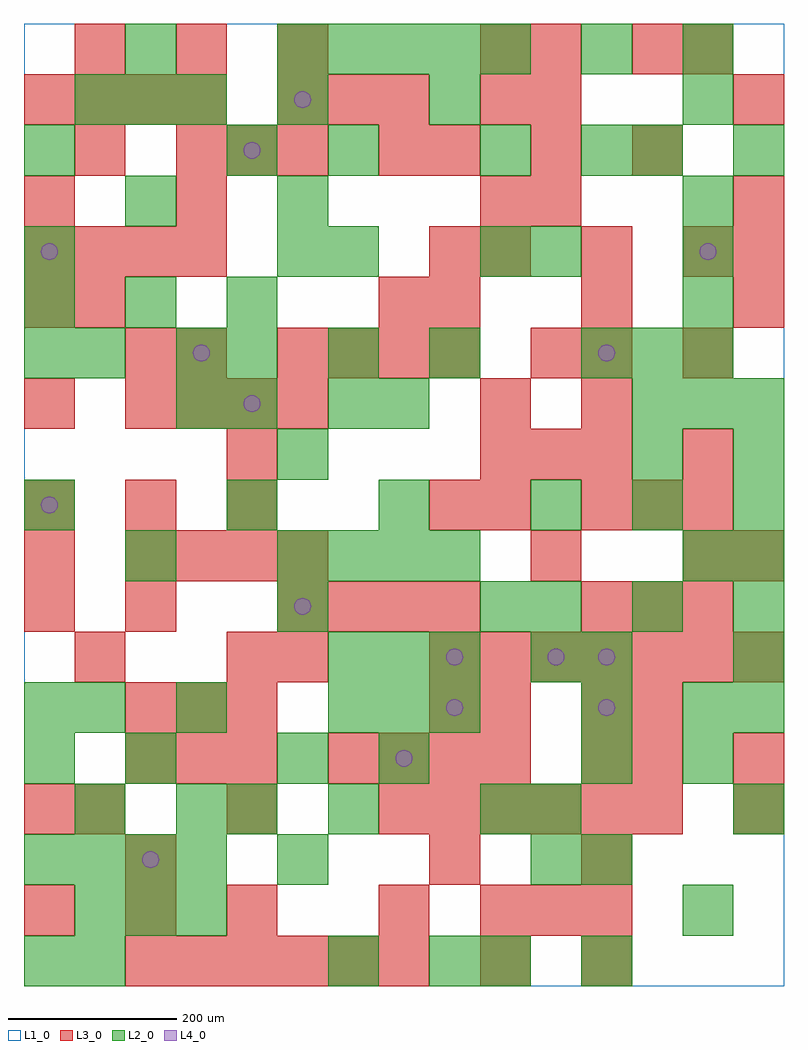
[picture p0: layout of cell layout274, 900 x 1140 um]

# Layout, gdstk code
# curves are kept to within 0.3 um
import gdstk
lib = gdstk.Library(unit=1e-6, precision=1e-09)
def R(c, l, rs):  # rectangles x0, y0, x1, y1
    for r in rs: c.add(gdstk.rectangle(r[:2], r[2:], *l))
def A(c, l, x, y, w, h, nx, ny, dx, dy):  # array of equal rectangles
    R(c, l, [(x+i*dx, y+j*dy, x+i*dx+w, y+j*dy+h) for i in range(nx) for j in range(ny)])
def P(c, l, *ps):  # polygons
    for p in ps: c.add(gdstk.Polygon(p, *l))
L1_0 = (1, 0)
L2_0 = (2, 0)
L3_0 = (3, 0)
L4_0 = (4, 0)

layout274 = lib.new_cell('layout274')
R(layout274, L1_0, [(0,0,900,1140)])
A(layout274, L2_0, 660, 0, 60, 60, 1, 3, 0, 120)
A(layout274, L2_0, 60, 60, 60, 60, 3, 2, 60, 960)
A(layout274, L2_0, 0, 120, 60, 60, 4, 1, 60, 0)
A(layout274, L2_0, 300, 240, 60, 60, 1, 3, 0, 180)
A(layout274, L2_0, 360, 300, 60, 60, 3, 2, 60, 60)
A(layout274, L2_0, 600, 420, 60, 60, 3, 1, 120, 0)
A(layout274, L2_0, 300, 480, 60, 60, 4, 1, 60, 0)
A(layout274, L2_0, 840, 480, 60, 60, 1, 3, 0, 60)
A(layout274, L2_0, 240, 540, 60, 60, 3, 1, 180, 0)
A(layout274, L2_0, 720, 660, 60, 60, 3, 1, 60, 0)
A(layout274, L2_0, 0, 720, 60, 60, 1, 3, 0, 120)
A(layout274, L2_0, 240, 720, 60, 60, 3, 1, 120, 0)
A(layout274, L2_0, 660, 720, 60, 60, 3, 1, 60, 0)
A(layout274, L2_0, 0, 780, 60, 60, 3, 1, 120, 0)
A(layout274, L2_0, 780, 780, 60, 60, 1, 3, 0, 60)
A(layout274, L2_0, 300, 1080, 60, 60, 5, 1, 60, 0)
R(layout274, L2_0, [(0,0,60,60), (60,0,120,60), (360,0,420,60), (480,0,540,60), (540,0,600,60), (780,60,840,120), (300,120,360,180), (600,120,660,180), (60,180,120,240), (180,180,240,240), (240,180,300,240), (360,180,420,240), (540,180,600,240), (600,180,660,240), (840,180,900,240), (0,240,60,300), (120,240,180,300), (420,240,480,300), (780,240,840,300), (0,300,60,360), (60,300,120,360), (180,300,240,360), (660,300,720,360), (780,300,840,360), (840,300,900,360), (600,360,660,420), (660,360,720,420), (840,360,900,420), (540,420,600,480), (120,480,180,540), (780,480,840,540), (0,540,60,600), (720,540,780,600), (720,600,780,660), (180,660,240,720), (240,660,300,720), (360,660,420,720), (420,660,480,720), (60,720,120,780), (180,720,240,780), (300,840,360,900), (360,840,420,900), (540,840,600,900), (600,840,660,900), (120,900,180,960), (300,900,360,960), (240,960,300,1020), (360,960,420,1020), (540,960,600,1020), (660,960,720,1020), (720,960,780,1020), (840,960,900,1020), (300,1020,360,1080), (480,1020,540,1080), (780,1020,840,1080), (120,1080,180,1140), (660,1080,720,1140), (780,1080,840,1140)])
A(layout274, L3_0, 120, 0, 60, 60, 6, 1, 60, 0)
A(layout274, L3_0, 660, 0, 60, 60, 1, 3, 0, 120)
A(layout274, L3_0, 0, 60, 60, 60, 3, 2, 120, 480)
A(layout274, L3_0, 540, 60, 60, 60, 3, 2, 60, 540)
A(layout274, L3_0, 120, 120, 60, 60, 1, 3, 0, 300)
A(layout274, L3_0, 60, 180, 60, 60, 3, 1, 180, 0)
A(layout274, L3_0, 480, 180, 60, 60, 5, 1, 60, 0)
A(layout274, L3_0, 120, 240, 60, 60, 3, 2, 60, 60)
A(layout274, L3_0, 360, 240, 60, 60, 4, 1, 60, 0)
A(layout274, L3_0, 480, 360, 60, 60, 7, 1, 60, 0)
A(layout274, L3_0, 300, 420, 60, 60, 4, 2, 60, 300)
A(layout274, L3_0, 660, 420, 60, 60, 3, 2, 60, 120)
A(layout274, L3_0, 120, 480, 60, 60, 4, 2, 60, 180)
A(layout274, L3_0, 780, 480, 60, 60, 1, 3, 0, 120)
A(layout274, L3_0, 0, 660, 60, 60, 1, 3, 0, 120)
A(layout274, L3_0, 480, 780, 60, 60, 3, 1, 180, 0)
A(layout274, L3_0, 0, 840, 60, 60, 4, 2, 60, 180)
A(layout274, L3_0, 540, 840, 60, 60, 3, 1, 120, 0)
A(layout274, L3_0, 180, 960, 60, 60, 3, 1, 60, 0)
A(layout274, L3_0, 480, 960, 60, 60, 3, 1, 120, 0)
A(layout274, L3_0, 300, 1020, 60, 60, 3, 1, 60, 0)
A(layout274, L3_0, 60, 1080, 60, 60, 3, 1, 120, 0)
R(layout274, L3_0, [(540,0,600,60), (420,60,480,120), (480,120,540,180), (0,180,60,240), (840,180,900,240), (720,240,780,300), (840,240,900,300), (480,300,540,360), (540,300,600,360), (660,300,720,360), (720,300,780,360), (60,360,120,420), (240,360,300,420), (300,360,360,420), (0,420,60,480), (0,480,60,540), (600,480,660,540), (840,480,900,540), (480,540,540,600), (540,540,600,600), (240,600,300,660), (540,660,600,720), (660,660,720,720), (180,720,240,780), (600,720,660,780), (660,720,720,780), (60,780,120,840), (420,780,480,840), (480,840,540,900), (840,840,900,900), (180,900,240,960), (540,900,600,960), (600,900,660,960), (840,900,900,960), (60,960,120,1020), (420,960,480,1020), (540,1020,600,1080), (600,1020,660,1080), (840,1020,900,1080), (540,1080,600,1140), (600,1080,660,1140), (720,1080,780,1140), (780,1080,840,1140)])
P(layout274, L4_0, [(40,570),(39.239,573.827),(37.071,577.071),(33.827,579.239),(30,580),(26.173,579.239),(22.929,577.071),(20.761,573.827),(20,570),(20.761,566.173),(22.929,562.929),(26.173,560.761),(30,560),(33.827,560.761),(37.071,562.929),(39.239,566.173)],
  [(40,870),(39.239,873.827),(37.071,877.071),(33.827,879.239),(30,880),(26.173,879.239),(22.929,877.071),(20.761,873.827),(20,870),(20.761,866.173),(22.929,862.929),(26.173,860.761),(30,860),(33.827,860.761),(37.071,862.929),(39.239,866.173)],
  [(160,150),(159.239,153.827),(157.071,157.071),(153.827,159.239),(150,160),(146.173,159.239),(142.929,157.071),(140.761,153.827),(140,150),(140.761,146.173),(142.929,142.929),(146.173,140.761),(150,140),(153.827,140.761),(157.071,142.929),(159.239,146.173)],
  [(220,750),(219.239,753.827),(217.071,757.071),(213.827,759.239),(210,760),(206.173,759.239),(202.929,757.071),(200.761,753.827),(200,750),(200.761,746.173),(202.929,742.929),(206.173,740.761),(210,740),(213.827,740.761),(217.071,742.929),(219.239,746.173)],
  [(280,690),(279.239,693.827),(277.071,697.071),(273.827,699.239),(270,700),(266.173,699.239),(262.929,697.071),(260.761,693.827),(260,690),(260.761,686.173),(262.929,682.929),(266.173,680.761),(270,680),(273.827,680.761),(277.071,682.929),(279.239,686.173)],
  [(280,990),(279.239,993.827),(277.071,997.071),(273.827,999.239),(270,1000),(266.173,999.239),(262.929,997.071),(260.761,993.827),(260,990),(260.761,986.173),(262.929,982.929),(266.173,980.761),(270,980),(273.827,980.761),(277.071,982.929),(279.239,986.173)],
  [(340,450),(339.239,453.827),(337.071,457.071),(333.827,459.239),(330,460),(326.173,459.239),(322.929,457.071),(320.761,453.827),(320,450),(320.761,446.173),(322.929,442.929),(326.173,440.761),(330,440),(333.827,440.761),(337.071,442.929),(339.239,446.173)],
  [(340,1050),(339.239,1053.827),(337.071,1057.071),(333.827,1059.239),(330,1060),(326.173,1059.239),(322.929,1057.071),(320.761,1053.827),(320,1050),(320.761,1046.173),(322.929,1042.929),(326.173,1040.761),(330,1040),(333.827,1040.761),(337.071,1042.929),(339.239,1046.173)],
  [(460,270),(459.239,273.827),(457.071,277.071),(453.827,279.239),(450,280),(446.173,279.239),(442.929,277.071),(440.761,273.827),(440,270),(440.761,266.173),(442.929,262.929),(446.173,260.761),(450,260),(453.827,260.761),(457.071,262.929),(459.239,266.173)],
  [(520,330),(519.239,333.827),(517.071,337.071),(513.827,339.239),(510,340),(506.173,339.239),(502.929,337.071),(500.761,333.827),(500,330),(500.761,326.173),(502.929,322.929),(506.173,320.761),(510,320),(513.827,320.761),(517.071,322.929),(519.239,326.173)],
  [(520,390),(519.239,393.827),(517.071,397.071),(513.827,399.239),(510,400),(506.173,399.239),(502.929,397.071),(500.761,393.827),(500,390),(500.761,386.173),(502.929,382.929),(506.173,380.761),(510,380),(513.827,380.761),(517.071,382.929),(519.239,386.173)],
  [(640,390),(639.239,393.827),(637.071,397.071),(633.827,399.239),(630,400),(626.173,399.239),(622.929,397.071),(620.761,393.827),(620,390),(620.761,386.173),(622.929,382.929),(626.173,380.761),(630,380),(633.827,380.761),(637.071,382.929),(639.239,386.173)],
  [(700,330),(699.239,333.827),(697.071,337.071),(693.827,339.239),(690,340),(686.173,339.239),(682.929,337.071),(680.761,333.827),(680,330),(680.761,326.173),(682.929,322.929),(686.173,320.761),(690,320),(693.827,320.761),(697.071,322.929),(699.239,326.173)],
  [(700,390),(699.239,393.827),(697.071,397.071),(693.827,399.239),(690,400),(686.173,399.239),(682.929,397.071),(680.761,393.827),(680,390),(680.761,386.173),(682.929,382.929),(686.173,380.761),(690,380),(693.827,380.761),(697.071,382.929),(699.239,386.173)],
  [(700,750),(699.239,753.827),(697.071,757.071),(693.827,759.239),(690,760),(686.173,759.239),(682.929,757.071),(680.761,753.827),(680,750),(680.761,746.173),(682.929,742.929),(686.173,740.761),(690,740),(693.827,740.761),(697.071,742.929),(699.239,746.173)],
  [(820,870),(819.239,873.827),(817.071,877.071),(813.827,879.239),(810,880),(806.173,879.239),(802.929,877.071),(800.761,873.827),(800,870),(800.761,866.173),(802.929,862.929),(806.173,860.761),(810,860),(813.827,860.761),(817.071,862.929),(819.239,866.173)])

lib.write_gds('layout274.gds')
